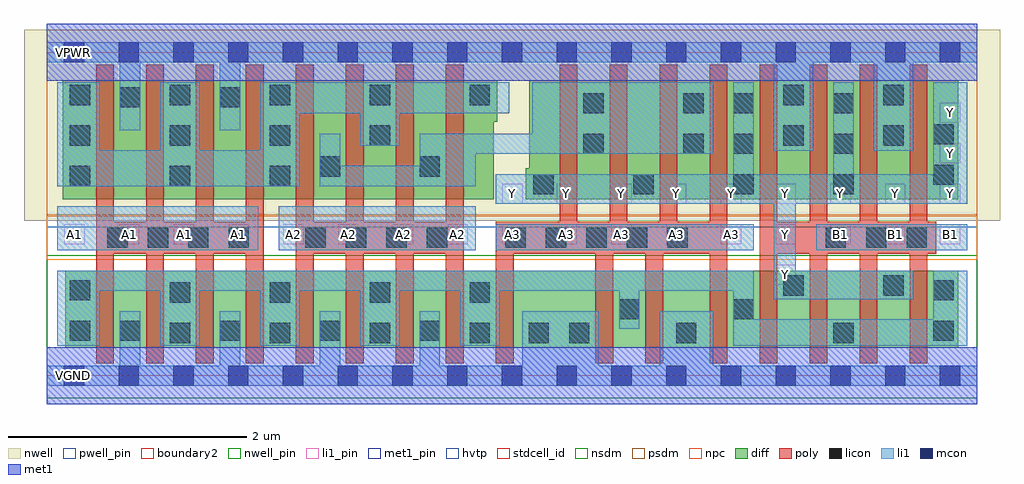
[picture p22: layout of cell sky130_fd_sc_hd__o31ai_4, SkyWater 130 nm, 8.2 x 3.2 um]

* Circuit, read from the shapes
.subckt sky130_fd_sc_hd__o31ai_4 A1 A2 A3 B1 VGND VNB VPB VPWR Y
XM1 VGND A1 n1 VNB sky130_fd_pr__nfet_01v8 w=0.65 l=0.15 m=4
XM2 VGND A2 n1 VNB sky130_fd_pr__nfet_01v8 w=0.65 l=0.15 m=4
XM3 VGND A3 n1 VNB sky130_fd_pr__nfet_01v8 w=0.65 l=0.15 m=4
XM4 Y B1 n1 VNB sky130_fd_pr__nfet_01v8 w=0.65 l=0.15 m=4
XM5 VPWR A1 n2 VPB sky130_fd_pr__pfet_01v8_hvt w=1 l=0.15 m=4
XM6 n3 A2 n2 VPB sky130_fd_pr__pfet_01v8_hvt w=1 l=0.15 m=4
XM7 n3 A3 Y VPB sky130_fd_pr__pfet_01v8_hvt w=1 l=0.15 m=4
XM8 VPWR B1 Y VPB sky130_fd_pr__pfet_01v8_hvt w=1 l=0.15 m=4
.ends

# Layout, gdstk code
import gdstk
lib = gdstk.Library(unit=1e-6, precision=1e-09)
def R(c, l, rs):  # rectangles x0, y0, x1, y1
    for r in rs: c.add(gdstk.rectangle(r[:2], r[2:], *l))
def A(c, l, x, y, w, h, nx, ny, dx, dy):  # array of equal rectangles
    R(c, l, [(x+i*dx, y+j*dy, x+i*dx+w, y+j*dy+h) for i in range(nx) for j in range(ny)])
def P(c, l, *ps):  # polygons
    for p in ps: c.add(gdstk.Polygon(p, *l))
nwell_pin = (64, 16)
nwell = (64, 20)
diff = (65, 20)
poly = (66, 20)
licon = (66, 44)
li1_pin = (67, 16)
li1 = (67, 20)
mcon = (67, 44)
met1_pin = (68, 16)
met1 = (68, 20)
hvtp = (78, 44)
stdcell_id = (81, 4)
nsdm = (93, 44)
psdm = (94, 20)
npc = (95, 20)
pwell_pin = (122, 16)
boundary2 = (236, 0)

sky130_fd_sc_hd__o31ai_4 = lib.new_cell('sky130_fd_sc_hd__o31ai_4')
R(sky130_fd_sc_hd__o31ai_4, nwell_pin, [(0.145,2.635,0.315,2.805)])
R(sky130_fd_sc_hd__o31ai_4, nwell, [(-0.19,1.305,8.01,2.91)])
R(sky130_fd_sc_hd__o31ai_4, diff, [(0.155,0.235,7.66,0.885)])
P(sky130_fd_sc_hd__o31ai_4, diff, [(7.66,2.485),(4.055,2.485),(4.055,1.745),(4.025,1.745),(4.025,1.485),(7.66,1.485)],
  [(3.785,2.485),(0.135,2.485),(0.135,1.485),(3.755,1.485),(3.755,2.135),(3.785,2.135)])
P(sky130_fd_sc_hd__o31ai_4, poly, [(1.825,2.615),(1.675,2.615),(1.675,1.295),(1.405,1.295),(1.405,2.615),(1.255,2.615),(1.255,1.295),(0.985,1.295),(0.985,2.615),(0.835,2.615),(0.835,1.295),(0.565,1.295),(0.565,2.615),(0.415,2.615),(0.415,0.105),(0.565,0.105),(0.565,1.025),(0.835,1.025),(0.835,0.105),(0.985,0.105),(0.985,1.025),(1.255,1.025),(1.255,0.105),(1.405,0.105),(1.405,1.025),(1.675,1.025),(1.675,0.105),(1.825,0.105)],
  [(3.505,2.615),(3.355,2.615),(3.355,1.295),(3.085,1.295),(3.085,2.615),(2.935,2.615),(2.935,1.295),(2.665,1.295),(2.665,2.615),(2.515,2.615),(2.515,1.295),(2.245,1.295),(2.245,2.615),(2.095,2.615),(2.095,0.105),(2.245,0.105),(2.245,1.025),(2.515,1.025),(2.515,0.105),(2.665,0.105),(2.665,1.025),(2.935,1.025),(2.935,0.105),(3.085,0.105),(3.085,1.025),(3.355,1.025),(3.355,0.105),(3.505,0.105)],
  [(5.72,2.615),(5.57,2.615),(5.57,1.295),(5.3,1.295),(5.3,2.615),(5.15,2.615),(5.15,1.295),(4.88,1.295),(4.88,2.615),(4.73,2.615),(4.73,1.295),(4.46,1.295),(4.46,2.615),(4.31,2.615),(4.31,1.295),(3.775,1.295),(3.775,0.105),(3.925,0.105),(3.925,1.025),(4.61,1.025),(4.61,0.105),(4.76,0.105),(4.76,1.025),(5.03,1.025),(5.03,0.105),(5.18,0.105),(5.18,1.025),(5.57,1.025),(5.57,0.105),(5.72,0.105)],
  [(7.475,1.295),(7.4,1.295),(7.4,2.615),(7.25,2.615),(7.25,1.295),(6.98,1.295),(6.98,2.615),(6.83,2.615),(6.83,1.295),(6.56,1.295),(6.56,2.615),(6.41,2.615),(6.41,1.295),(6.14,1.295),(6.14,2.615),(5.99,2.615),(5.99,0.105),(6.14,0.105),(6.14,1.025),(6.41,1.025),(6.41,0.105),(6.56,0.105),(6.56,1.025),(6.83,1.025),(6.83,0.105),(6.98,0.105),(6.98,1.025),(7.25,1.025),(7.25,0.105),(7.4,0.105),(7.4,1.025),(7.475,1.025)])
A(sky130_fd_sc_hd__o31ai_4, licon, 1.035, 0.275, 0.17, 0.17, 4, 2, 0.84, 0.34)
A(sky130_fd_sc_hd__o31ai_4, licon, 0.615, 0.295, 0.17, 0.17, 4, 1, 0.84, 0)
A(sky130_fd_sc_hd__o31ai_4, licon, 0.51, 1.075, 0.17, 0.17, 4, 1, 0.34, 0)
A(sky130_fd_sc_hd__o31ai_4, licon, 2.175, 1.075, 0.17, 0.17, 4, 1, 0.34, 0)
A(sky130_fd_sc_hd__o31ai_4, licon, 3.855, 1.075, 0.17, 0.17, 5, 1, 0.34, 0)
A(sky130_fd_sc_hd__o31ai_4, licon, 6.545, 1.075, 0.17, 0.17, 3, 1, 0.34, 0)
A(sky130_fd_sc_hd__o31ai_4, licon, 4.09, 1.525, 0.17, 0.17, 4, 1, 0.84, 0)
A(sky130_fd_sc_hd__o31ai_4, licon, 0.195, 1.595, 0.17, 0.17, 3, 1, 0.84, 0)
A(sky130_fd_sc_hd__o31ai_4, licon, 0.195, 1.935, 0.17, 0.17, 4, 1, 0.84, 0)
A(sky130_fd_sc_hd__o31ai_4, licon, 0.195, 2.275, 0.17, 0.17, 5, 1, 0.84, 0)
R(sky130_fd_sc_hd__o31ai_4, licon, [(4.05,0.275,4.22,0.445), (4.39,0.275,4.56,0.445), (5.29,0.275,5.46,0.445), (6.61,0.275,6.78,0.445), (0.195,0.295,0.365,0.465), (7.45,0.295,7.62,0.465), (4.81,0.475,4.98,0.645), (5.77,0.475,5.94,0.645), (0.195,0.635,0.365,0.805), (7.45,0.635,7.62,0.805), (6.19,0.675,6.36,0.845), (7.03,0.675,7.2,0.845), (7.45,1.605,7.62,1.775), (2.295,1.675,2.465,1.845), (3.135,1.675,3.305,1.845), (4.51,1.865,4.68,2.035), (5.35,1.865,5.52,2.035), (5.77,1.865,5.94,2.035), (6.61,1.865,6.78,2.035), (6.19,1.935,6.36,2.105), (7.03,1.935,7.2,2.105), (7.45,1.945,7.62,2.115), (4.51,2.205,4.68,2.375), (5.35,2.205,5.52,2.375), (5.77,2.205,5.94,2.375), (6.61,2.205,6.78,2.375), (0.615,2.255,0.785,2.425), (1.455,2.255,1.625,2.425), (6.19,2.275,6.36,2.445), (7.03,2.275,7.2,2.445)])
A(sky130_fd_sc_hd__o31ai_4, li1_pin, 0.15, 1.105, 0.17, 0.17, 9, 1, 0.46, 0)
A(sky130_fd_sc_hd__o31ai_4, li1_pin, 4.285, 1.105, 0.17, 0.17, 8, 2, 0.46, 0.34)
R(sky130_fd_sc_hd__o31ai_4, li1_pin, [(6.125,0.765,6.295,0.935), (3.83,1.445,4,1.615), (7.505,1.785,7.675,1.955), (7.505,2.125,7.675,2.295)])
R(sky130_fd_sc_hd__o31ai_4, li1, [(0.09,1.055,1.78,1.425), (1.95,1.055,3.605,1.425), (3.775,1.055,5.94,1.275), (6.465,1.055,7.735,1.275)])
P(sky130_fd_sc_hd__o31ai_4, li1, [(7.735,2.465),(7.45,2.465),(7.45,1.695),(6.78,1.695),(6.78,2.465),(6.61,2.465),(6.61,1.695),(5.94,1.695),(5.94,2.465),(5.77,2.465),(5.77,1.695),(3.775,1.695),(3.775,1.445),(6.11,1.445),(6.11,0.645),(7.28,0.645),(7.28,0.885),(6.295,0.885),(6.295,1.445),(7.735,1.445)],
  [(7.735,0.885),(7.45,0.885),(7.45,0.475),(5.94,0.475),(5.94,0.885),(0.09,0.885),(0.09,0.255),(0.445,0.255),(0.445,0.715),(0.955,0.715),(0.955,0.255),(1.285,0.255),(1.285,0.715),(1.795,0.715),(1.795,0.255),(2.125,0.255),(2.125,0.715),(2.635,0.715),(2.635,0.255),(2.965,0.255),(2.965,0.715),(3.475,0.715),(3.475,0.255),(3.805,0.255),(3.805,0.715),(4.81,0.715),(4.81,0.395),(4.98,0.395),(4.98,0.715),(5.77,0.715),(5.77,0.255),(7.735,0.255)],
  [(3.885,2.465),(1.795,2.465),(1.795,1.895),(1.285,1.895),(1.285,2.465),(0.955,2.465),(0.955,1.895),(0.445,1.895),(0.445,2.465),(0.09,2.465),(0.09,1.595),(2.125,1.595),(2.125,2.205),(2.635,2.205),(2.635,1.935),(2.965,1.935),(2.965,2.205),(3.885,2.205)],
  [(5.6,2.465),(4.08,2.465),(4.08,2.035),(3.135,2.035),(3.135,1.765),(2.465,1.765),(2.465,2.035),(2.295,2.035),(2.295,1.595),(3.605,1.595),(3.605,1.865),(5.6,1.865)],
  [(7.82,0.085),(5.6,0.085),(5.6,0.545),(5.15,0.545),(5.15,0.085),(4.64,0.085),(4.64,0.545),(3.995,0.545),(3.995,0.085),(3.305,0.085),(3.305,0.545),(3.135,0.545),(3.135,0.085),(2.465,0.085),(2.465,0.545),(2.295,0.545),(2.295,0.085),(1.625,0.085),(1.625,0.545),(1.455,0.545),(1.455,0.085),(0.785,0.085),(0.785,0.545),(0.615,0.545),(0.615,0.085),(0,0.085),(0,-0.085),(7.82,-0.085)],
  [(7.82,2.805),(0,2.805),(0,2.635),(0.615,2.635),(0.615,2.065),(0.785,2.065),(0.785,2.635),(1.455,2.635),(1.455,2.065),(1.625,2.065),(1.625,2.635),(6.11,2.635),(6.11,1.89),(6.44,1.89),(6.44,2.635),(6.95,2.635),(6.95,1.89),(7.28,1.89),(7.28,2.635),(7.82,2.635)])
A(sky130_fd_sc_hd__o31ai_4, mcon, 0.145, -0.085, 0.17, 0.17, 17, 2, 0.46, 2.72)
R(sky130_fd_sc_hd__o31ai_4, met1_pin, [(0.145,-0.085,0.315,0.085), (0.145,2.635,0.315,2.805)])
R(sky130_fd_sc_hd__o31ai_4, hvtp, [(0,1.25,7.82,2.72)])
R(sky130_fd_sc_hd__o31ai_4, stdcell_id, [(0,0,7.82,2.72)])
R(sky130_fd_sc_hd__o31ai_4, nsdm, [(0,-0.19,7.82,1.015)])
R(sky130_fd_sc_hd__o31ai_4, psdm, [(0,1.355,7.82,2.91)])
R(sky130_fd_sc_hd__o31ai_4, npc, [(0,0.975,7.82,1.345)])
R(sky130_fd_sc_hd__o31ai_4, pwell_pin, [(0.145,-0.085,0.315,0.085)])
R(sky130_fd_sc_hd__o31ai_4, boundary2, [(0,0,7.82,2.72)])
sky130_fd_sc_hd__o31ai_4.add(gdstk.FlexPath([(0,2.72),(7.82,2.72)], 0.48, ends="flush", simple_path=True, layer=68, datatype=20))  # met1
sky130_fd_sc_hd__o31ai_4.add(gdstk.FlexPath([(0,0),(7.82,0)], 0.48, ends="flush", simple_path=True, layer=68, datatype=20))  # met1
sky130_fd_sc_hd__o31ai_4.add(gdstk.Label('A3', (5.29,1.19), layer=67, texttype=5))
sky130_fd_sc_hd__o31ai_4.add(gdstk.Label('A3', (4.83,1.19), layer=67, texttype=5))
sky130_fd_sc_hd__o31ai_4.add(gdstk.Label('A3', (4.37,1.19), layer=67, texttype=5))
sky130_fd_sc_hd__o31ai_4.add(gdstk.Label('A3', (3.915,1.19), layer=67, texttype=5))
sky130_fd_sc_hd__o31ai_4.add(gdstk.Label('A2', (3.455,1.19), layer=67, texttype=5))
sky130_fd_sc_hd__o31ai_4.add(gdstk.Label('A2', (2.995,1.19), layer=67, texttype=5))
sky130_fd_sc_hd__o31ai_4.add(gdstk.Label('A2', (2.535,1.19), layer=67, texttype=5))
sky130_fd_sc_hd__o31ai_4.add(gdstk.Label('A2', (2.075,1.19), layer=67, texttype=5))
sky130_fd_sc_hd__o31ai_4.add(gdstk.Label('A1', (1.615,1.19), layer=67, texttype=5))
sky130_fd_sc_hd__o31ai_4.add(gdstk.Label('A1', (1.155,1.19), layer=67, texttype=5))
sky130_fd_sc_hd__o31ai_4.add(gdstk.Label('A1', (0.695,1.19), layer=67, texttype=5))
sky130_fd_sc_hd__o31ai_4.add(gdstk.Label('A1', (0.235,1.19), layer=67, texttype=5))
sky130_fd_sc_hd__o31ai_4.add(gdstk.Label('Y', (3.915,1.53), layer=67, texttype=5))
sky130_fd_sc_hd__o31ai_4.add(gdstk.Label('Y', (4.37,1.53), layer=67, texttype=5))
sky130_fd_sc_hd__o31ai_4.add(gdstk.Label('Y', (4.83,1.53), layer=67, texttype=5))
sky130_fd_sc_hd__o31ai_4.add(gdstk.Label('Y', (5.29,1.53), layer=67, texttype=5))
sky130_fd_sc_hd__o31ai_4.add(gdstk.Label('Y', (5.75,1.53), layer=67, texttype=5))
sky130_fd_sc_hd__o31ai_4.add(gdstk.Label('Y', (6.21,1.53), layer=67, texttype=5))
sky130_fd_sc_hd__o31ai_4.add(gdstk.Label('Y', (6.67,1.53), layer=67, texttype=5))
sky130_fd_sc_hd__o31ai_4.add(gdstk.Label('Y', (7.13,1.53), layer=67, texttype=5))
sky130_fd_sc_hd__o31ai_4.add(gdstk.Label('Y', (7.59,1.53), layer=67, texttype=5))
sky130_fd_sc_hd__o31ai_4.add(gdstk.Label('Y', (7.59,2.21), layer=67, texttype=5))
sky130_fd_sc_hd__o31ai_4.add(gdstk.Label('Y', (7.59,1.87), layer=67, texttype=5))
sky130_fd_sc_hd__o31ai_4.add(gdstk.Label('B1', (7.59,1.19), layer=67, texttype=5))
sky130_fd_sc_hd__o31ai_4.add(gdstk.Label('B1', (7.13,1.19), layer=67, texttype=5))
sky130_fd_sc_hd__o31ai_4.add(gdstk.Label('B1', (6.67,1.19), layer=67, texttype=5))
sky130_fd_sc_hd__o31ai_4.add(gdstk.Label('Y', (6.21,0.85), layer=67, texttype=5))
sky130_fd_sc_hd__o31ai_4.add(gdstk.Label('Y', (6.21,1.19), layer=67, texttype=5))
sky130_fd_sc_hd__o31ai_4.add(gdstk.Label('A3', (5.75,1.19), layer=67, texttype=5))
sky130_fd_sc_hd__o31ai_4.add(gdstk.Label('VGND', (0.23,0), layer=68, texttype=5))
sky130_fd_sc_hd__o31ai_4.add(gdstk.Label('VPWR', (0.23,2.72), layer=68, texttype=5))
sky130_fd_sc_hd__o31ai_4.add(gdstk.Label('VPB', (0.23,2.72), layer=64, texttype=5))
sky130_fd_sc_hd__o31ai_4.add(gdstk.Label('VNB', (0.23,0), layer=64, texttype=59))
sky130_fd_sc_hd__o31ai_4.add(gdstk.Label('o31ai_4', (0,0), layer=83, texttype=44))

lib.write_gds('sky130_fd_sc_hd__o31ai_4.gds')
